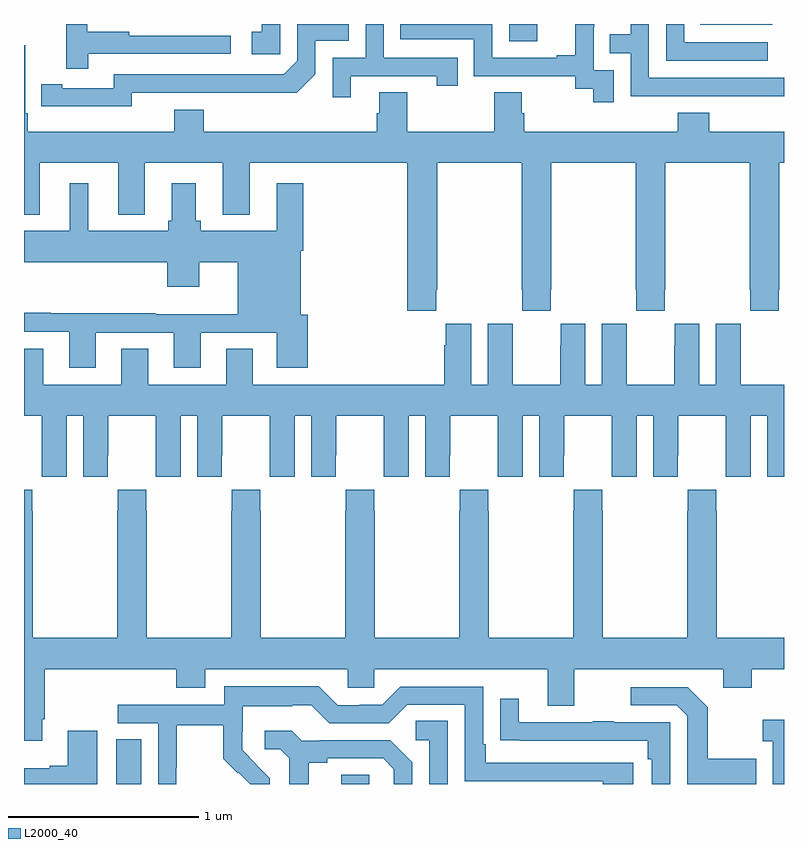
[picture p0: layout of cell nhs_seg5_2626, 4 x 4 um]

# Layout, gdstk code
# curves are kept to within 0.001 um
import gdstk
lib = gdstk.Library(unit=1e-6, precision=1e-09)
def R(c, l, rs):  # rectangles x0, y0, x1, y1
    for r in rs: c.add(gdstk.rectangle(r[:2], r[2:], *l))
def P(c, l, *ps):  # polygons
    for p in ps: c.add(gdstk.Polygon(p, *l))
L2000_40 = (2000, 40)

nhs_seg5_2626 = lib.new_cell('nhs_seg5_2626')
R(nhs_seg5_2626, L2000_40, [(263.486,878.799,263.617,879.035), (264.671,878.799,264.816,878.849), (265.554,882.708,265.702,882.799), (266.56,882.794,266.938,882.799)])
P(nhs_seg5_2626, L2000_40, [(263.568,882.438),(264.436,882.437),(264.534,882.534),(264.534,882.711),(264.708,882.711),(264.708,882.799),(264.438,882.799),(264.438,882.606),(264.366,882.534),(263.472,882.534),(263.472,882.462),(263.2,882.462),(263.2,882.482),(263.092,882.482),(263.092,882.366),(263.568,882.365)],
  [(263.339,882.642),(264.088,882.642),(264.088,882.738),(263.555,882.738),(263.555,882.758),(263.332,882.758),(263.332,882.799),(263.222,882.799),(263.222,882.564),(263.339,882.564)],
  [(267,882.516),(266.289,882.516),(266.289,882.799),(266.193,882.799),(266.193,882.746),(266.083,882.746),(266.083,882.645),(266.193,882.645),(266.193,882.42),(266.689,882.42),(266.689,882.419),(267,882.419)],
  [(264.348,882.799),(264.251,882.799),(264.251,882.759),(264.198,882.759),(264.198,882.639),(264.348,882.639)],
  [(266.103,882.555),(265.998,882.555),(265.998,882.785),(266,882.785),(266,882.799),(265.901,882.799),(265.901,882.634),(265.805,882.634),(265.805,882.621),(265.464,882.621),(265.464,882.799),(264.979,882.799),(264.979,882.72),(265.368,882.72),(265.368,882.525),(265.902,882.525),(265.902,882.457),(265.995,882.457),(265.995,882.387),(266.103,882.387)],
  [(266.914,882.702),(266.475,882.702),(266.475,882.799),(266.379,882.799),(266.379,882.606),(266.914,882.606)],
  [(264.721,882.525),(265.172,882.525),(265.172,882.474),(265.283,882.474),(265.283,882.621),(264.894,882.621),(264.894,882.799),(264.798,882.799),(264.798,882.621),(264.624,882.621),(264.624,882.414),(264.721,882.414)],
  [(265.016,881.289),(265.169,881.289),(265.169,881.401),(265.176,881.401),(265.176,882.068),(265.621,882.068),(265.621,881.401),(265.623,881.401),(265.623,881.289),(265.773,881.289),(265.773,881.401),(265.776,881.401),(265.776,882.068),(266.221,882.068),(266.221,881.401),(266.223,881.401),(266.223,881.289),(266.373,881.289),(266.373,881.401),(266.376,881.401),(266.376,882.068),(266.821,882.068),(266.821,881.401),(266.823,881.401),(266.823,881.289),(266.973,881.289),(266.973,881.401),(266.976,881.401),(266.976,882.068),(267,882.068),(267,882.232),(266.606,882.232),(266.606,882.331),(266.441,882.331),(266.441,882.232),(265.634,882.232),(265.634,882.33),(265.621,882.33),(265.621,882.44),(265.474,882.44),(265.474,882.232),(265.017,882.232),(265.017,882.44),(264.869,882.44),(264.869,882.33),(264.857,882.33),(264.857,882.232),(263.945,882.232),(263.945,882.349),(263.792,882.349),(263.792,882.232),(263.021,882.232),(263.021,882.328),(263.007,882.328),(263.007,882.688),(263,882.688),(263,881.795),(263.083,881.795),(263.083,882.068),(263.495,882.068),(263.495,881.795),(263.635,881.795),(263.635,882.068),(264.047,882.068),(264.047,881.795),(264.187,881.795),(264.187,882.068),(265.016,882.068)],
  [(263.377,881.175),(263.789,881.175),(263.789,880.989),(263.929,880.989),(263.929,881.175),(264.329,881.175),(264.329,880.989),(264.494,880.989),(264.494,881.268),(264.457,881.268),(264.457,881.606),(264.47,881.606),(264.47,881.962),(264.329,881.962),(264.329,881.71),(263.931,881.71),(263.931,881.763),(263.905,881.763),(263.905,881.962),(263.777,881.962),(263.777,881.763),(263.758,881.763),(263.758,881.71),(263.338,881.71),(263.338,881.962),(263.24,881.962),(263.24,881.71),(263,881.71),(263,881.546),(263.753,881.546),(263.753,881.415),(263.923,881.415),(263.923,881.546),(264.125,881.546),(264.125,881.272),(263.693,881.272),(263.693,881.276),(263.141,881.276),(263.141,881.279),(263,881.279),(263,881.178),(263.237,881.178),(263.237,880.989),(263.377,880.989)],
  [(264.293,880.528),(264.294,880.528),(264.294,880.416),(264.424,880.416),(264.424,880.736),(264.512,880.736),(264.512,880.416),(264.642,880.416),(264.642,880.528),(264.643,880.528),(264.643,880.736),(264.893,880.736),(264.893,880.528),(264.894,880.528),(264.894,880.416),(265.024,880.416),(265.024,880.736),(265.112,880.736),(265.112,880.416),(265.242,880.416),(265.242,880.528),(265.243,880.528),(265.243,880.736),(265.493,880.736),(265.493,880.528),(265.494,880.528),(265.494,880.416),(265.624,880.416),(265.624,880.736),(265.712,880.736),(265.712,880.416),(265.842,880.416),(265.842,880.528),(265.843,880.528),(265.843,880.736),(266.093,880.736),(266.093,880.528),(266.094,880.528),(266.094,880.416),(266.224,880.416),(266.224,880.736),(266.312,880.736),(266.312,880.416),(266.442,880.416),(266.442,880.528),(266.443,880.528),(266.443,880.736),(266.693,880.736),(266.693,880.528),(266.694,880.528),(266.694,880.416),(266.824,880.416),(266.824,880.736),(266.912,880.736),(266.912,880.416),(267,880.416),(267,880.9),(266.773,880.9),(266.773,881.108),(266.772,881.108),(266.772,881.221),(266.642,881.221),(266.642,880.9),(266.554,880.9),(266.554,881.221),(266.424,881.221),(266.424,881.108),(266.423,881.108),(266.423,880.9),(266.173,880.9),(266.173,881.108),(266.172,881.108),(266.172,881.221),(266.042,881.221),(266.042,880.9),(265.954,880.9),(265.954,881.221),(265.824,881.221),(265.824,881.108),(265.823,881.108),(265.823,880.9),(265.573,880.9),(265.573,881.108),(265.572,881.108),(265.572,881.221),(265.442,881.221),(265.442,880.9),(265.354,880.9),(265.354,881.221),(265.22,881.221),(265.22,881.108),(265.211,881.108),(265.211,880.9),(264.205,880.9),(264.205,881.09),(264.065,881.09),(264.065,880.9),(263.653,880.9),(263.653,881.09),(263.513,881.09),(263.513,880.9),(263.101,880.9),(263.101,881.09),(263,881.09),(263,880.736),(263.093,880.736),(263.093,880.528),(263.094,880.528),(263.094,880.416),(263.224,880.416),(263.224,880.736),(263.312,880.736),(263.312,880.416),(263.442,880.416),(263.442,880.528),(263.443,880.528),(263.443,880.736),(263.693,880.736),(263.693,880.528),(263.694,880.528),(263.694,880.416),(263.824,880.416),(263.824,880.736),(263.912,880.736),(263.912,880.416),(264.042,880.416),(264.042,880.528),(264.043,880.528),(264.043,880.736),(264.293,880.736)],
  [(263.095,879.139),(263.108,879.139),(263.108,879.404),(263.801,879.404),(263.801,879.305),(263.953,879.305),(263.953,879.404),(264.705,879.404),(264.705,879.306),(264.843,879.306),(264.843,879.404),(265.757,879.404),(265.757,879.21),(265.897,879.21),(265.897,879.404),(266.681,879.404),(266.681,879.305),(266.829,879.305),(266.829,879.404),(267,879.404),(267,879.568),(266.646,879.568),(266.646,880.235),(266.643,880.235),(266.643,880.348),(266.493,880.348),(266.493,880.235),(266.491,880.235),(266.491,879.568),(266.046,879.568),(266.046,880.235),(266.043,880.235),(266.043,880.348),(265.893,880.348),(265.893,880.235),(265.891,880.235),(265.891,879.568),(265.446,879.568),(265.446,880.235),(265.443,880.235),(265.443,880.348),(265.293,880.348),(265.293,880.235),(265.291,880.235),(265.291,879.568),(264.846,879.568),(264.846,880.235),(264.843,880.235),(264.843,880.348),(264.693,880.348),(264.693,880.235),(264.691,880.235),(264.691,879.568),(264.246,879.568),(264.246,880.235),(264.243,880.235),(264.243,880.348),(264.093,880.348),(264.093,880.235),(264.091,880.235),(264.091,879.568),(263.646,879.568),(263.646,880.235),(263.643,880.235),(263.643,880.348),(263.493,880.348),(263.493,880.235),(263.491,880.235),(263.491,879.568),(263.046,879.568),(263.046,880.235),(263.043,880.235),(263.043,880.348),(263,880.348),(263,879.027),(263.095,879.027)],
  [(263.802,878.884),(263.805,878.884),(263.805,879.108),(264.049,879.108),(264.049,878.933),(264.126,878.856),(264.129,878.859),(264.19,878.799),(264.294,878.799),(264.294,878.83),(264.148,878.978),(264.148,879.075),(264.15,879.075),(264.15,879.209),(264.413,879.209),(264.413,879.213),(264.513,879.213),(264.606,879.12),(264.921,879.12),(265.017,879.216),(265.32,879.216),(265.32,878.814),(266.045,878.814),(266.045,878.799),(266.206,878.799),(266.206,878.91),(265.429,878.91),(265.429,879.007),(265.416,879.007),(265.416,879.312),(264.981,879.312),(264.885,879.216),(264.767,879.216),(264.767,879.213),(264.651,879.213),(264.551,879.313),(264.054,879.313),(264.054,879.216),(263.493,879.216),(263.493,879.12),(263.706,879.12),(263.706,878.799),(263.802,878.799)],
  [(266.855,878.931),(266.599,878.931),(266.599,879.203),(266.493,879.309),(266.193,879.309),(266.193,879.213),(266.436,879.213),(266.49,879.159),(266.49,878.799),(266.855,878.799)],
  [(266.4,879.123),(266.105,879.123),(266.105,879.128),(265.993,879.128),(265.993,879.123),(265.603,879.123),(265.603,879.247),(265.507,879.247),(265.507,879.028),(265.609,879.028),(265.609,879.027),(266.284,879.027),(266.284,878.93),(266.304,878.93),(266.304,878.799),(266.4,878.799)],
  [(267,879.136),(266.889,879.136),(266.889,879.023),(266.94,879.023),(266.94,878.799),(267,878.799)],
  [(265.23,879.131),(265.062,879.131),(265.062,879.03),(265.134,879.03),(265.134,878.799),(265.23,878.799)],
  [(263.386,879.079),(263.231,879.079),(263.231,878.894),(263.135,878.894),(263.135,878.881),(263,878.881),(263,878.799),(263.386,878.799)],
  [(264.499,878.912),(264.595,878.912),(264.595,878.934),(264.89,878.934),(264.947,878.877),(264.947,878.799),(265.044,878.799),(265.044,878.914),(264.928,879.03),(264.556,879.03),(264.556,879.027),(264.462,879.027),(264.41,879.079),(264.267,879.079),(264.267,878.982),(264.348,878.982),(264.395,878.935),(264.395,878.799),(264.499,878.799)])

lib.write_gds('nhs_seg5_2626.gds')
